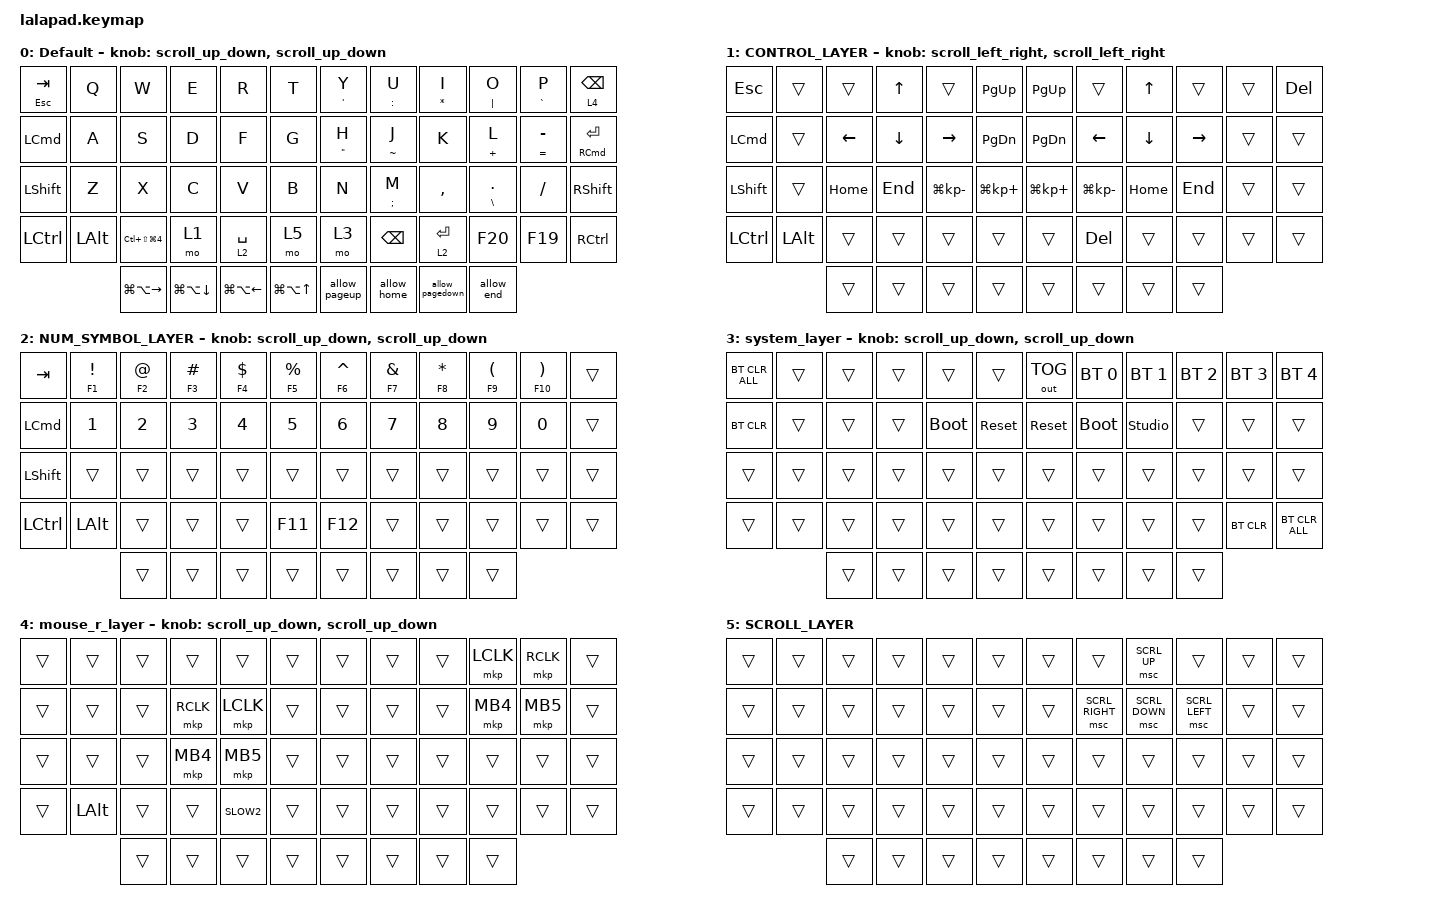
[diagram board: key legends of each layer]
#include <input/processors.dtsi>
#include <behaviors.dtsi>
#include <dt-bindings/zmk/bt.h>
#include <dt-bindings/zmk/keys.h>
#include <dt-bindings/zmk/outputs.h>
#include <dt-bindings/zmk/pointing.h>

#define DEFAULT_LAYER   0
#define SECONDARY_LAYER 1
#define TERTIARY_LAYER  2
#define SYSTEM_LAYER    3
#define MOUSE_R_LAYER   4
#define SCROLL_R_LAYER  5
#define MOUSE_L_LAYER   6
#define SCROLL_L_LAYER  7

// Mouse Scroll Value

#define ZMK_POINTING_DEFAULT_SCRL_VAL 100

// cirque trackpad input&layer control

&glidepoint_listener_R {
    input-processors =
        <&zip_xy_transform (INPUT_TRANSFORM_XY_SWAP | INPUT_TRANSFORM_X_INVERT | INPUT_TRANSFORM_Y_INVERT)>,
        <&zip_xy_scaler 6 2>;

    lowspeedmode {
        layers = <SECONDARY_LAYER>;
        input-processors =
            <&zip_xy_transform (INPUT_TRANSFORM_XY_SWAP | INPUT_TRANSFORM_X_INVERT | INPUT_TRANSFORM_Y_INVERT)>,
            <&zip_xy_scaler 7 5>;
    };

    scroller {
        layers = <SCROLL_R_LAYER>;
        input-processors =
            <&zip_xy_to_scroll_mapper>,
            <&zip_scroll_transform (INPUT_TRANSFORM_XY_SWAP | INPUT_TRANSFORM_Y_INVERT)>,
            <&zip_scroll_scaler 1 8>;
    };
};

&glidepoint_listener_L {
    input-processors =
        <&zip_xy_transform (INPUT_TRANSFORM_XY_SWAP | INPUT_TRANSFORM_X_INVERT | INPUT_TRANSFORM_Y_INVERT)>,
        <&zip_xy_scaler 3 2>;

    lowspeedmode {
        layers = <SECONDARY_LAYER>;
        input-processors =
            <&zip_xy_transform (INPUT_TRANSFORM_XY_SWAP | INPUT_TRANSFORM_X_INVERT | INPUT_TRANSFORM_Y_INVERT)>,
            <&zip_xy_scaler 3 4>;
    };

    scroller {
        layers = <SCROLL_L_LAYER>;
        input-processors =
            <&zip_xy_to_scroll_mapper>,
            <&zip_scroll_transform (INPUT_TRANSFORM_XY_SWAP | INPUT_TRANSFORM_Y_INVERT)>,
            <&zip_scroll_scaler 1 6>;
    };
};

/ {
    behaviors {
        // Encoder to Mouse Scroll

        scroll_up_down: sensor_scroll_up_down {
            compatible = "zmk,behavior-sensor-rotate";
            #sensor-binding-cells = <0>;
            bindings = <&msc SCRL_UP>, <&msc SCRL_DOWN>;

            tap-ms = <20>;
            label = "SCROLL_UP_DOWN";
        };

        scroll_down_up: sensor_scroll_down_up {
            compatible = "zmk,behavior-sensor-rotate";
            #sensor-binding-cells = <0>;
            bindings = <&msc SCRL_DOWN>, <&msc SCRL_UP>;

            tap-ms = <20>;
            label = "SCROLL_DOWN_UP";
        };

        scroll_left_right: sensor_scroll_left_right {
            compatible = "zmk,behavior-sensor-rotate";
            #sensor-binding-cells = <0>;
            bindings = <&msc SCRL_LEFT>, <&msc SCRL_RIGHT>;

            tap-ms = <20>;
            label = "SCROLL_LEFT_RIGHT";
        };

        scroll_right_left: sensor_scroll_right_left {
            compatible = "zmk,behavior-sensor-rotate";
            #sensor-binding-cells = <0>;
            bindings = <&msc SCRL_RIGHT>, <&msc SCRL_LEFT>;

            tap-ms = <20>;
            label = "SCROLL_RIGHT_LEFT";
        };

        volume_up_down: sensor_volume_up_down {
            compatible = "zmk,behavior-sensor-rotate";
            #sensor-binding-cells = <0>;
            bindings = <&kp C_VOLUME_UP>, <&kp C_VOLUME_DOWN>;

            tap-ms = <20>;
            label = "VOLUME_UP_DOWN";
        };

        dot_comma: dot_comma {
            compatible = "zmk,behavior-mod-morph";
            #binding-cells = <0>;
            bindings = <&kp KP_DOT>, <&kp COMMA>;

            mods = <(MOD_LSFT|MOD_RSFT)>;
            label = "DOT_COMMA";
        };

        pls_minus: pls_minus {
            compatible = "zmk,behavior-mod-morph";
            #binding-cells = <0>;
            bindings = <&kp PLUS>, <&kp MINUS>;

            mods = <(MOD_LSFT|MOD_RSFT)>;
            label = "PLS_MINUS";
        };

        allow_pageup: allow_pageup {
            compatible = "zmk,behavior-mod-morph";
            #binding-cells = <0>;
            bindings = <&kp UP>, <&kp PAGE_UP>;

            mods = <(MOD_LCTL|MOD_RCTL)>;
            label = "ALLOW_PAGEUP";
        };

        allow_pagedown: allow_pagedown {
            compatible = "zmk,behavior-mod-morph";
            #binding-cells = <0>;
            bindings = <&kp DOWN>, <&kp PAGE_DOWN>;

            mods = <(MOD_LCTL|MOD_RCTL)>;
            label = "ALLOW_PAGEDOWN";
        };

        allow_home: allow_home {
            compatible = "zmk,behavior-mod-morph";
            #binding-cells = <0>;
            bindings = <&kp LEFT>, <&kp HOME>;

            mods = <(MOD_LCTL|MOD_RCTL)>;
            label = "ALLOW_HOME";
        };

        allow_end: allow_end {
            compatible = "zmk,behavior-mod-morph";
            #binding-cells = <0>;
            bindings = <&kp RIGHT>, <&kp END>;

            mods = <(MOD_LCTL|MOD_RCTL)>;
            label = "ALLOW_END";
        };

        mt2: mod_tap2 {
            compatible = "zmk,behavior-hold-tap";
            #binding-cells = <2>;
            flavor = "balanced";
            tapping-term-ms = <200>;
            quick-tap-ms = <175>;
            require-prior-idle-ms = <150>;
            bindings = <&kp>, <&kp>;
        };
    };

    combos {
        compatible = "zmk,combos";

        right_parenthesis {
            bindings = <&kp RIGHT_PARENTHESIS>;
            key-positions = <8 9>;
        };

        right_bracket {
            bindings = <&kp RIGHT_BRACKET>;
            key-positions = <20 21>;
        };

        right_brace {
            bindings = <&kp RIGHT_BRACE>;
            key-positions = <32 33>;
        };

        left_parenthesis {
            bindings = <&kp LEFT_PARENTHESIS>;
            key-positions = <7 8>;
        };

        left_bracket {
            bindings = <&kp LEFT_BRACKET>;
            key-positions = <19 20>;
        };

        left_brace {
            bindings = <&kp LEFT_BRACE>;
            key-positions = <31 32>;
        };

        Browser_Shortcut_Next_Tab {
            bindings = <&kp LC(TAB)>;
            key-positions = <28 29>;
        };

        Browser_Shortcut_Prev_Tab {
            bindings = <&kp LC(LS(TAB))>;
            key-positions = <4 5>;
        };

        Zoom {
            bindings = <&kp LG(KP_PLUS)>;
            key-positions = <16 15>;
        };

        Zoom_Out {
            bindings = <&kp LG(KP_MINUS)>;
            key-positions = <14 15>;
        };

        backspace {
            bindings = <&kp BACKSPACE>;
            key-positions = <9 10>;
        };

        enter_and_R_cmd {
            bindings = <&mt2 RIGHT_COMMAND ENTER>;
            key-positions = <21 22>;
        };

        R_shift {
            bindings = <&kp RIGHT_SHIFT>;
            key-positions = <33 34>;
        };

        tab_and_esc {
            bindings = <&mt2 ESCAPE TAB>;
            key-positions = <1 2>;
        };

        L_shift {
            bindings = <&kp LEFT_SHIFT>;
            key-positions = <25 26>;
        };

        L_cmd {
            bindings = <&kp LEFT_COMMAND>;
            key-positions = <13 14>;
        };

        L_control {
            bindings = <&kp LEFT_CONTROL>;
            key-positions = <37 38>;
        };

        R_control {
            bindings = <&kp RIGHT_CONTROL>;
            key-positions = <45 46>;
        };
    };

    keymap {
        compatible = "zmk,keymap";

        DEFAULT_LAYER {
            display-name = "Default";
            sensor-bindings = <&scroll_up_down>, <&scroll_up_down>;

            bindings = <
&mt2 ESC TAB      &kp Q         &kp W                     &kp E                   &kp R                   &kp T                 &mt2 SINGLE_QUOTE Y   &mt2 COLON U   &mt2 ASTERISK I  &mt2 PIPE O            &mt2 GRAVE P      &lt 4 BACKSPACE
&kp LEFT_COMMAND  &kp A         &kp S                     &kp D                   &kp F                   &kp G                 &mt2 DOUBLE_QUOTES H  &mt2 TILDE J   &kp K            &mt2 PLUS L            &mt2 EQUAL MINUS  &mt2 RIGHT_COMMAND ENTER
&kp LSHFT         &kp Z         &kp X                     &kp C                   &kp V                   &kp B                 &kp N                 &mt2 SEMI M    &kp COMMA        &mt2 BACKSLASH PERIOD  &kp SLASH         &kp RIGHT_SHIFT
&kp LCTRL         &kp LEFT_ALT  &kp LC(LS(LG(NUMBER_4)))  &mo 1                   &lt 2 SPACE             &mo 5                 &mo 3                 &kp BACKSPACE  &lt 2 ENTER      &kp F20                &kp F19           &kp RIGHT_CONTROL
                                &kp LG(LA(RIGHT))         &kp LG(LA(DOWN_ARROW))  &kp LG(LA(LEFT_ARROW))  &kp LG(LA(UP_ARROW))  &allow_pageup         &allow_home    &allow_pagedown  &allow_end
            >;
        };

        CONTROL_LAYER {
            bindings = <
&kp ESCAPE        &trans        &trans    &kp UP_ARROW    &trans            &kp PG_UP        &kp PG_UP        &trans            &kp UP    &trans     &trans  &kp DEL
&kp LEFT_COMMAND  &trans        &kp LEFT  &kp DOWN_ARROW  &kp RIGHT         &kp PAGE_DOWN    &kp PAGE_DOWN    &kp LEFT          &kp DOWN  &kp RIGHT  &trans  &trans
&kp LEFT_SHIFT    &trans        &kp HOME  &kp END         &kp LG(KP_MINUS)  &kp LG(KP_PLUS)  &kp LG(KP_PLUS)  &kp LG(KP_MINUS)  &kp HOME  &kp END    &trans  &trans
&kp LEFT_CONTROL  &kp LEFT_ALT  &trans    &trans          &trans            &trans           &trans           &kp DEL           &trans    &trans     &trans  &trans
                                &trans    &trans          &trans            &trans           &trans           &trans            &trans    &trans
            >;

            sensor-bindings = <&scroll_left_right>, <&scroll_left_right>;
        };

        NUM_SYMBOL_LAYER {
            bindings = <
&kp TAB           &mt2 F1 EXCLAMATION  &mt2 F2 AT_SIGN  &mt2 F3 HASH  &mt2 F4 DOLLAR  &mt2 F5 PERCENT  &mt2 F6 CARET  &mt2 F7 AMPERSAND  &mt2 F8 ASTERISK  &mt2 F9 LEFT_PARENTHESIS  &mt2 F10 RIGHT_PARENTHESIS  &trans
&kp LEFT_COMMAND  &kp NUMBER_1         &kp NUMBER_2     &kp NUMBER_3  &kp NUMBER_4    &kp NUMBER_5     &kp NUMBER_6   &kp NUMBER_7       &kp NUMBER_8      &kp NUMBER_9              &kp NUMBER_0                &trans
&kp LEFT_SHIFT    &trans               &trans           &trans        &trans          &trans           &trans         &trans             &trans            &trans                    &trans                      &trans
&kp LEFT_CONTROL  &kp LEFT_ALT         &trans           &trans        &trans          &kp F11          &kp F12        &trans             &trans            &trans                    &trans                      &trans
                                       &trans           &trans        &trans          &trans           &trans         &trans             &trans            &trans
            >;

            sensor-bindings = <&scroll_up_down>, <&scroll_up_down>;
        };

        SYSTEM_LAYER {
            display-name = "system_layer";
            sensor-bindings = <&scroll_up_down>, <&scroll_up_down>;

            bindings = <
&bt BT_CLR_ALL  &trans  &trans  &trans  &trans       &trans      &out OUT_TOG  &bt BT_SEL 0  &bt BT_SEL 1    &bt BT_SEL 2  &bt BT_SEL 3  &bt BT_SEL 4
&bt BT_CLR      &trans  &trans  &trans  &bootloader  &sys_reset  &sys_reset    &bootloader   &studio_unlock  &trans        &trans        &trans
&trans          &trans  &trans  &trans  &trans       &trans      &trans        &trans        &trans          &trans        &trans        &trans
&trans          &trans  &trans  &trans  &trans       &trans      &trans        &trans        &trans          &trans        &bt BT_CLR    &bt BT_CLR_ALL
                        &trans  &trans  &trans       &trans      &trans        &trans        &trans          &trans
            >;
        };

        MOUSE_R_LAYER {
            display-name = "mouse_r_layer";
            bindings = <
&trans  &trans        &trans  &trans     &trans       &trans  &trans  &trans  &trans  &mkp LCLK  &mkp RCLK  &trans
&trans  &trans        &trans  &mkp RCLK  &mkp LCLK    &trans  &trans  &trans  &trans  &mkp MB4   &mkp MB5   &trans
&trans  &trans        &trans  &mkp MB4   &mkp MB5     &trans  &trans  &trans  &trans  &trans     &trans     &trans
&trans  &kp LEFT_ALT  &trans  &trans     &kp C_SLOW2  &trans  &trans  &trans  &trans  &trans     &trans     &trans
                      &trans  &trans     &trans       &trans  &trans  &trans  &trans  &trans
            >;

            sensor-bindings = <&scroll_up_down>, <&scroll_up_down>;
        };

        SCROLL_LAYER {
            bindings = <
&trans  &trans  &trans  &trans  &trans  &trans  &trans  &trans           &msc SCRL_UP    &trans          &trans  &trans
&trans  &trans  &trans  &trans  &trans  &trans  &trans  &msc SCRL_RIGHT  &msc SCRL_DOWN  &msc SCRL_LEFT  &trans  &trans
&trans  &trans  &trans  &trans  &trans  &trans  &trans  &trans           &trans          &trans          &trans  &trans
&trans  &trans  &trans  &trans  &trans  &trans  &trans  &trans           &trans          &trans          &trans  &trans
                &trans  &trans  &trans  &trans  &trans  &trans           &trans          &trans
            >;
        };
    };
};
